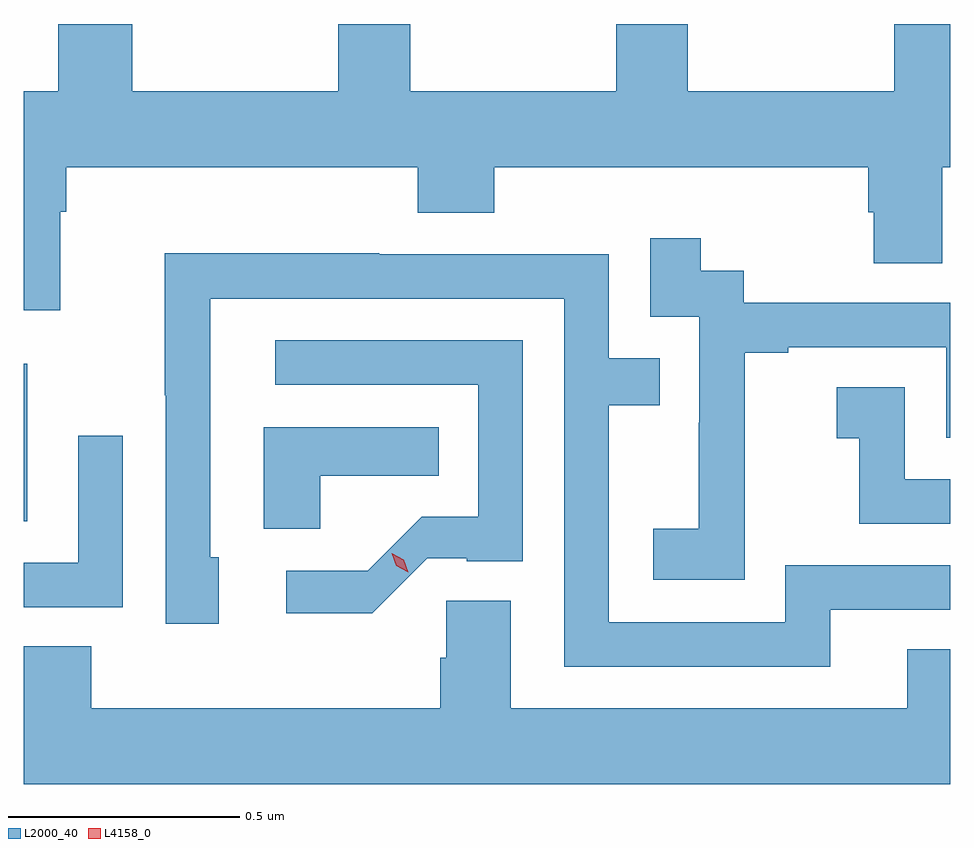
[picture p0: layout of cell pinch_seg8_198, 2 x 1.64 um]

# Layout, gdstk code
import gdstk
lib = gdstk.Library(unit=1e-6, precision=1e-09)
def R(c, l, rs):  # rectangles x0, y0, x1, y1
    for r in rs: c.add(gdstk.rectangle(r[:2], r[2:], *l))
def P(c, l, *ps):  # polygons
    for p in ps: c.add(gdstk.Polygon(p, *l))
L2000_40 = (2000, 40)
L4158_0 = (4158, 0)

pinch_seg8_198 = lib.new_cell('pinch_seg8_198')
R(pinch_seg8_198, L2000_40, [(645.252,1134.383,645.259,1134.723)])
P(pinch_seg8_198, L2000_40, [(645.331,1135.052),(645.344,1135.052),(645.344,1135.148),(646.103,1135.148),(646.103,1135.049),(646.268,1135.049),(646.268,1135.148),(647.075,1135.148),(647.075,1135.05),(647.087,1135.05),(647.087,1134.94),(647.235,1134.94),(647.235,1135.148),(647.252,1135.148),(647.252,1135.457),(647.131,1135.457),(647.131,1135.312),(646.686,1135.312),(646.686,1135.457),(646.531,1135.457),(646.531,1135.312),(646.086,1135.312),(646.086,1135.457),(645.931,1135.457),(645.931,1135.312),(645.486,1135.312),(645.486,1135.457),(645.326,1135.457),(645.326,1135.312),(645.252,1135.312),(645.252,1134.839),(645.331,1134.839)],
  [(646.809,1134.463),(646.808,1134.463),(646.808,1134.747),(646.903,1134.747),(646.903,1134.759),(647.244,1134.759),(647.244,1134.564),(647.252,1134.564),(647.252,1134.855),(646.806,1134.855),(646.806,1134.924),(646.714,1134.924),(646.714,1134.994),(646.605,1134.994),(646.605,1134.825),(646.71,1134.825),(646.71,1134.596),(646.709,1134.596),(646.709,1134.367),(646.611,1134.367),(646.611,1134.257),(646.809,1134.257)],
  [(646.993,1134.192),(647.252,1134.192),(647.252,1134.288),(646.896,1134.288),(646.896,1134.165),(646.515,1134.165),(646.515,1134.634),(646.625,1134.634),(646.625,1134.735),(646.515,1134.735),(646.515,1134.96),(646.019,1134.96),(646.019,1134.962),(645.556,1134.962),(645.556,1134.655),(645.558,1134.655),(645.558,1134.162),(645.673,1134.162),(645.673,1134.306),(645.654,1134.306),(645.654,1134.864),(646.419,1134.864),(646.419,1134.069),(646.993,1134.069)],
  [(646.123,1134.303),(646.208,1134.303),(646.208,1134.297),(646.329,1134.297),(646.329,1134.774),(645.795,1134.774),(645.795,1134.678),(646.233,1134.678),(646.233,1134.393),(646.111,1134.393),(645.994,1134.276),(645.819,1134.276),(645.819,1134.185),(646.004,1134.185)],
  [(647.252,1134.474),(647.154,1134.474),(647.154,1134.673),(647.007,1134.673),(647.007,1134.563),(647.056,1134.563),(647.056,1134.378),(647.252,1134.378)],
  [(645.892,1134.482),(646.148,1134.482),(646.148,1134.586),(645.77,1134.586),(645.77,1134.367),(645.892,1134.367)],
  [(645.465,1134.568),(645.369,1134.568),(645.369,1134.294),(645.252,1134.294),(645.252,1134.198),(645.465,1134.198)],
  [(647.252,1134.107),(647.159,1134.107),(647.159,1133.98),(646.303,1133.98),(646.303,1134.212),(646.164,1134.212),(646.164,1134.089),(646.151,1134.089),(646.151,1133.98),(645.398,1133.98),(645.398,1134.113),(645.252,1134.113),(645.252,1133.816),(647.252,1133.816)])
P(pinch_seg8_198, L4158_0, [(646.082,1134.273),(646.056,1134.287),(646.046,1134.314),(646.046,1134.314),(646.046,1134.314),(646.072,1134.3),(646.082,1134.273),(646.082,1134.273)])

lib.write_gds('pinch_seg8_198.gds')
